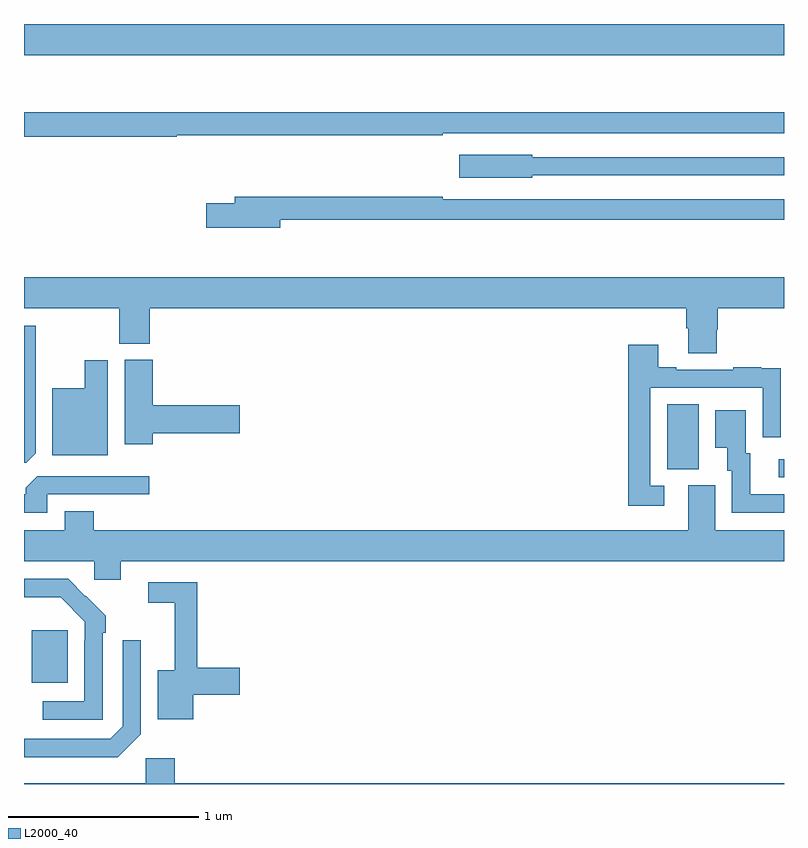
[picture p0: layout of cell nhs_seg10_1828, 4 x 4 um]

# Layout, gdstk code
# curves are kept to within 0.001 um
import gdstk
lib = gdstk.Library(unit=1e-6, precision=1e-09)
def R(c, l, rs):  # rectangles x0, y0, x1, y1
    for r in rs: c.add(gdstk.rectangle(r[:2], r[2:], *l))
def P(c, l, *ps):  # polygons
    for p in ps: c.add(gdstk.Polygon(p, *l))
L2000_40 = (2000, 40)

nhs_seg10_1828 = lib.new_cell('nhs_seg10_1828')
R(nhs_seg10_1828, L2000_40, [(207.041,1277.033,207.229,1277.308), (210.972,1278.114,211,1278.21), (210.386,1278.157,210.55,1278.5), (207,1280.336,211,1280.5)])
P(nhs_seg10_1828, L2000_40, [(207.803,1279.914),(209.204,1279.914),(209.204,1279.926),(211,1279.926),(211,1280.035),(207,1280.035),(207,1279.906),(207.803,1279.906)],
  [(209.676,1279.704),(211,1279.704),(211,1279.8),(209.676,1279.8),(209.676,1279.813),(209.292,1279.813),(209.292,1279.691),(209.676,1279.691)],
  [(208.348,1279.47),(211,1279.47),(211,1279.578),(209.204,1279.578),(209.204,1279.591),(208.109,1279.591),(208.109,1279.557),(207.96,1279.557),(207.96,1279.427),(208.348,1279.427)],
  [(210.645,1278.891),(210.65,1278.891),(210.65,1279.004),(211,1279.004),(211,1279.168),(207,1279.168),(207,1279.004),(207.502,1279.004),(207.502,1278.817),(207.662,1278.817),(207.662,1279.004),(210.485,1279.004),(210.485,1278.898),(210.497,1278.898),(210.497,1278.766),(210.645,1278.766)],
  [(207.061,1278.241),(207.061,1278.913),(207,1278.913),(207,1278.192),(207.012,1278.192)],
  [(210.37,1278.069),(210.297,1278.069),(210.297,1278.585),(210.888,1278.585),(210.888,1278.324),(210.984,1278.324),(210.984,1278.578),(210.983,1278.578),(210.983,1278.687),(210.881,1278.687),(210.881,1278.694),(210.733,1278.694),(210.733,1278.681),(210.433,1278.681),(210.433,1278.694),(210.337,1278.694),(210.337,1278.811),(210.181,1278.811),(210.181,1277.964),(210.37,1277.964)],
  [(207.677,1278.347),(208.135,1278.347),(208.135,1278.494),(207.677,1278.494),(207.677,1278.732),(207.53,1278.732),(207.53,1278.288),(207.677,1278.288)],
  [(207.442,1278.73),(207.32,1278.73),(207.32,1278.583),(207.149,1278.583),(207.149,1278.23),(207.442,1278.23)],
  [(211,1278.024),(210.823,1278.024),(210.823,1278.24),(210.799,1278.24),(210.799,1278.466),(210.638,1278.466),(210.638,1278.269),(210.701,1278.269),(210.701,1278.15),(210.726,1278.15),(210.726,1277.928),(211,1277.928)],
  [(207.123,1278.024),(207.658,1278.024),(207.658,1278.12),(207.069,1278.12),(207.008,1278.058),(207.008,1278.024),(207,1278.024),(207,1277.928),(207.123,1277.928)],
  [(207.508,1277.672),(211,1277.672),(211,1277.836),(210.637,1277.836),(210.637,1278.072),(210.497,1278.072),(210.497,1277.836),(207.368,1277.836),(207.368,1277.935),(207.215,1277.935),(207.215,1277.836),(207,1277.836),(207,1277.672),(207.369,1277.672),(207.369,1277.574),(207.508,1277.574)],
  [(207.414,1277.297),(207.429,1277.297),(207.429,1277.385),(207.232,1277.58),(207,1277.58),(207,1277.484),(207.193,1277.484),(207.321,1277.355),(207.321,1277.255),(207.318,1277.255),(207.318,1276.935),(207.099,1276.935),(207.099,1276.839),(207.414,1276.839)],
  [(207.892,1276.969),(208.135,1276.969),(208.135,1277.111),(207.911,1277.111),(207.911,1277.562),(207.654,1277.562),(207.654,1277.454),(207.794,1277.454),(207.794,1277.098),(207.704,1277.098),(207.704,1276.841),(207.892,1276.841)],
  [(207.615,1276.761),(207.615,1277.257),(207.519,1277.257),(207.519,1276.803),(207.453,1276.737),(207,1276.737),(207,1276.64),(207.494,1276.64)],
  [(211,1276.504),(207.794,1276.504),(207.794,1276.636),(207.642,1276.636),(207.642,1276.504),(207,1276.504),(207,1276.5),(211,1276.5)])

lib.write_gds('nhs_seg10_1828.gds')
